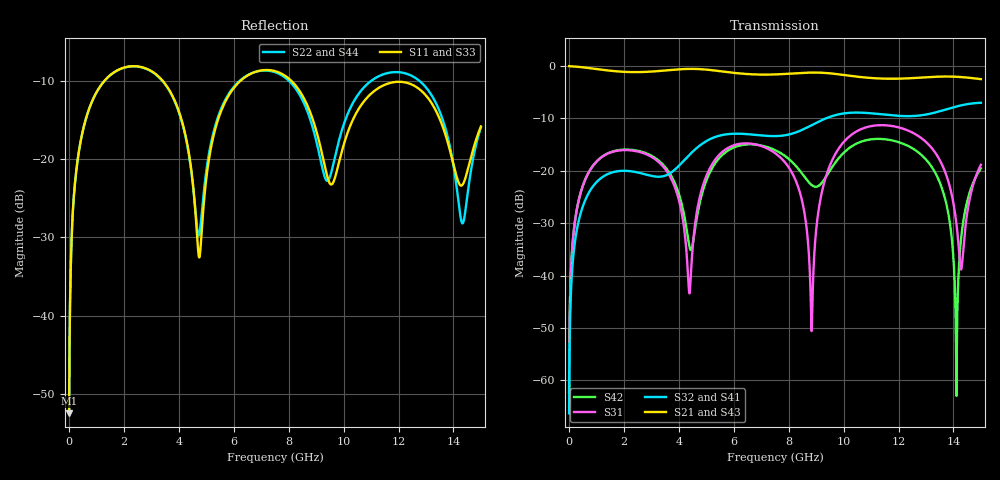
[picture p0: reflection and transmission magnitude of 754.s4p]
! Created with skrf 1.8.0 (http://scikit-rf.org).
# GHz S RI R 50.0
!freq ReS11 ImS11 ReS12 ImS12 ReS13 ImS13
! ReS14 ImS14
! ReS21 ImS21 ReS22 ImS22 ReS23 ImS23
! ReS24 ImS24
! ReS31 ImS31 ReS32 ImS32 ReS33 ImS33
! ReS34 ImS34
! ReS41 ImS41 ReS42 ImS42 ReS43 ImS43
! ReS44 ImS44
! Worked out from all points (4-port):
!   2499 points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, 5 MHz to 15 GHz, reference 50 ohm
!   strongest paths, dB at 5 MHz, 3.476 GHz, 7.19 GHz, 11.1 GHz, 15 GHz:
!     S21: 0.0, -0.9, -1.6, -2.3, -2.5
!     S43: 0.0, -0.9, -1.6, -2.3, -2.5
!     S32: -66.3, -21.0, -13.3, -9.1, -7.0
!     S41: -66.3, -21.0, -13.3, -9.1, -7.0
!     S31: -62.3, -19.5, -15.7, -11.4, -18.9
!     S42: -62.3, -19.1, -15.4, -13.9, -19.5
!   lowest |S11| = -52.5 dB at 5 MHz (marker M1), VSWR 1.00, Z = 50.2 + j0.144 ohm
!   |S11| at or under -10 dB: start of sweep to 1.291 GHz; 3.413 GHz to 6.245 GHz (2.832 GHz wide, 58.7 % of centre); 8.098 GHz to end of sweep
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0.005  0.00189 0.00144  0.9981 -0.00368  9.61e-05 0.000759  -9.32e-05 -0.000475
       0.9981 -0.00368  0.00189 0.00144  -9.32e-05 -0.000475  9.61e-05 0.000759
       9.61e-05 0.000759  -9.32e-05 -0.000475  0.00189 0.00144  0.9981 -0.00368
       -9.32e-05 -0.000475  9.61e-05 0.000759  0.9981 -0.00368  0.00189 0.00144
1.419341  0.2873 0.1699  0.5118 -0.7495  0.1337 0.0592  -0.0932 9.1e-05
          0.5118 -0.7495  0.2863 0.1706  -0.0933 0.000154  0.1366 0.0548
          0.1337 0.0592  -0.0933 0.000154  0.2873 0.17  0.5118 -0.7495
          -0.0932 9.1e-05  0.1366 0.0548  0.5118 -0.7495  0.2864 0.1706
7.396832  0.3661 -0.0399  0.0229 0.8303  0.1329 -0.078  0.2041 -0.0657
          0.0229 0.8303  0.3607 -0.0463  0.2036 -0.0676  0.1279 -0.1
          0.1329 -0.078  0.2036 -0.0676  0.3656 -0.042  0.0234 0.8304
          0.2041 -0.0657  0.1279 -0.1  0.0234 0.8304  0.3607 -0.0446
8.834931  0.1307 -0.1358  0.7068 0.5018  -0.00289 -0.000629  0.1531 -0.2257
          0.7068 0.5018  0.1214 -0.1168  0.1506 -0.2274  -0.0617 -0.0395
          -0.00289 -0.000629  0.1506 -0.2274  0.1306 -0.1374  0.7069 0.5014
          0.1531 -0.2257  -0.0617 -0.0395  0.7069 0.5014  0.1221 -0.1174
12.29262  0.3046 -0.0425  0.0122 -0.7625  0.1763 -0.1711  -0.3249 0.0703
          0.0122 -0.7625  0.339 -0.0912  -0.3242 0.0753  0.1538 -0.0848
          0.1763 -0.1711  -0.3242 0.0753  0.3001 -0.045  0.00977 -0.7637
          -0.3249 0.0703  0.1538 -0.0848  0.00977 -0.7637  0.3364 -0.0901
14.11213  0.0728 -0.0271  -0.734 -0.294  -0.00488 -0.0305  -0.1432 0.386
          -0.734 -0.294  0.0444 -0.0504  -0.1362 0.3884  -0.000502 0.000501
          -0.00488 -0.0305  -0.1362 0.3884  0.072 -0.0269  -0.7355 -0.2905
          -0.1432 0.386  -0.000502 0.000501  -0.7355 -0.2905  0.0432 -0.0495
15  0.1155 0.1129  -0.7319 0.1663  0.1118 0.023  0.1224 0.4293
    -0.7319 0.1663  0.1022 0.1221  0.1304 0.4269  0.0956 0.045
    0.1118 0.023  0.1304 0.4269  0.1156 0.1088  -0.7317 0.1695
    0.1224 0.4293  0.0956 0.045  -0.7317 0.1695  0.1002 0.1209
